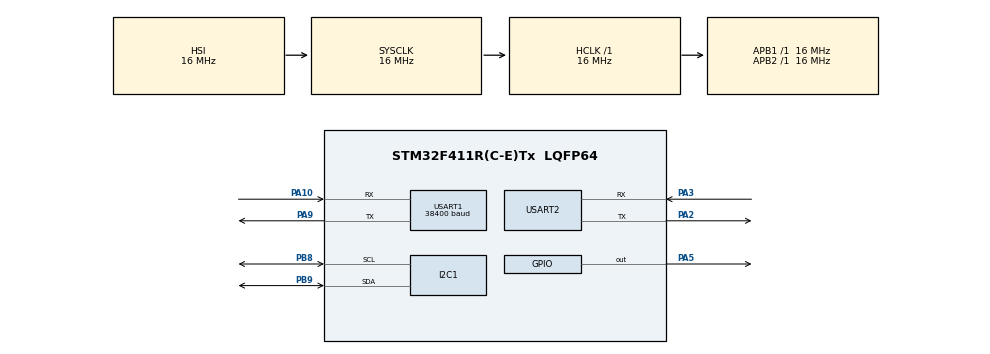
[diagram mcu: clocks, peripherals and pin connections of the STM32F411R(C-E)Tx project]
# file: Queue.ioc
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FREERTOS.Tasks01=defaultTask,0,128,StartDefaultTask,Default,NULL,Dynamic,NULL,NULL
FREERTOS.configUSE_NEWLIB_REENTRANT=1
Mcu.Family=STM32F4
Mcu.Name=STM32F411R(C-E)Tx
Mcu.Package=LQFP64
NVIC.PriorityGroup=NVIC_PRIORITYGROUP_4
NVIC.TIM1_UP_TIM10_IRQn=true\:15\:0\:false\:false\:true\:false\:false\:true\:true
NVIC.TimeBase=TIM1_UP_TIM10_IRQn
NVIC.TimeBaseIP=TIM1
NVIC.USART2_IRQn=true\:5\:0\:false\:false\:true\:true\:true\:true\:true
PA10.Mode=Asynchronous
PA10.Signal=USART1_RX
PA2.Mode=Asynchronous
PA2.Signal=USART2_TX
PA3.Mode=Asynchronous
PA3.Signal=USART2_RX
PA5.Signal=GPIO_Output
PA9.Mode=Asynchronous
PA9.Signal=USART1_TX
PB8.GPIO_Pu=GPIO_PULLUP
PB8.Mode=I2C
PB8.Signal=I2C1_SCL
PB9.GPIO_Pu=GPIO_PULLUP
PB9.Mode=I2C
PB9.Signal=I2C1_SDA
PC14-OSC32_IN.Mode=LSE-External-Oscillator
PC14-OSC32_IN.Signal=RCC_OSC32_IN
PC15-OSC32_OUT.Mode=LSE-External-Oscillator
PC15-OSC32_OUT.Signal=RCC_OSC32_OUT
ProjectManager.HeapSize=0x200
ProjectManager.StackSize=0x400
ProjectManager.TargetToolchain=STM32CubeIDE
RCC.AHBFreq_Value=16000000
RCC.APB1Freq_Value=16000000
RCC.APB2Freq_Value=16000000
RCC.CortexFreq_Value=16000000
RCC.HSE_VALUE=25000000
RCC.HSI_VALUE=16000000
RCC.SYSCLKFreq_VALUE=16000000
RCC.VCOOutputFreq_Value=192000000
USART1.BaudRate=38400
USART1.VirtualMode=VM_ASYNC
USART2.VirtualMode=VM_ASYNC
VP_FREERTOS_VS_CMSIS_V1.Mode=CMSIS_V1
VP_SYS_VS_tim1.Mode=TIM1
board=custom

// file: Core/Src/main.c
/* USER CODE BEGIN Header */
/**
  ******************************************************************************
  * @file           : main.c
  * @brief          : Main program body
  ******************************************************************************
  * @attention
  *
  * Copyright (c) 2023 STMicroelectronics.
  * All rights reserved.
  *
  * This software is licensed under terms that can be found in the LICENSE file
  * in the root directory of this software component.
  * If no LICENSE file comes with this software, it is provided AS-IS.
  *
  ******************************************************************************
  */
/* USER CODE END Header */
#include "main.h"
#include "stdio.h"
#include "string.h"

#include "FreeRTOS.h"
#include "task.h"
#include "timers.h"
#include "queue.h"
#include "semphr.h"
#include "event_groups.h"

I2C_HandleTypeDef hi2c1;

UART_HandleTypeDef huart1;
UART_HandleTypeDef huart2;

/* USER CODE BEGIN PV */
#define AHT25_ADDR 0x70 // Address of the AHT25 sensor

// AHT25 commands
#define AHT25_INIT_CMD 0xE1
#define AHT25_MEASURE_CMD 0xAC

/* USER CODE END PV */

void SystemClock_Config(void);
static void MX_GPIO_Init(void);
static void MX_I2C1_Init(void);
static void MX_USART1_UART_Init(void);
static void MX_USART2_UART_Init(void);

/* USER CODE END PFP */

/* USER CODE BEGIN 0 */
/************TaskHandle************/
xTaskHandle Sender_Handler;
xTaskHandle Receiver_Handler;

/***********QueueHandler************/
xQueueHandle SimpleQueue;
/***********TaskFunction***********/
void Sender_Task (void *argument);
void Receiver_Task (void *argument);
uint8_t Rx_data;

// Structure definition for sensor data
//typedef struct {
//    int temperature;
//    int humidity;
//} SensorData;

//float temperature, humidity;
//void read_sensor_values(float *temperature, float *humidity)
//{
//    uint8_t data[6];
//    uint8_t cmd = AHT25_MEASURE_CMD;
//
//    HAL_I2C_Master_Transmit(&hi2c1, AHT25_ADDR,&cmd, 1, HAL_MAX_DELAY);
//    HAL_Delay(100);
//    HAL_I2C_Master_Receive(&hi2c1,0x71, data, 6, HAL_MAX_DELAY);
//
//    *humidity = ((float)((data[1] << 12) | (data[2] << 4) | (data[3] >> 4))) / 1048576.0 * 100.0;
//    *temperature = ((float)(((data[3] & 0x0F) << 16) | (data[4] << 8) | data[5])) / 1048576.0 * 200.0 - 50.0;
//}

int temperature, humidity;
void read_sensor_values(int *temperature, int *humidity)
{
    uint8_t data[6];
    uint8_t cmd = AHT25_MEASURE_CMD;

    HAL_I2C_Master_Transmit(&hi2c1, AHT25_ADDR,&cmd, 1, HAL_MAX_DELAY);
    HAL_Delay(100);
    HAL_I2C_Master_Receive(&hi2c1,0x71, data, 6, HAL_MAX_DELAY);

    *humidity = ((int)((data[1] << 12) | (data[2] << 4) | (data[3] >> 4))) / 1048576.0 * 100.0;
    *temperature = ((int)(((data[3] & 0x0F) << 16) | (data[4] << 8) | data[5])) / 1048576.0 * 200.0 - 50.0;
}

/* USER CODE END 0 */

int main(void)
{

  /* MCU Configuration--------------------------------------------------------*/

  /* Reset of all peripherals, Initializes the Flash interface and the Systick. */
  HAL_Init();

  /* Configure the system clock */
  SystemClock_Config();

  /* Initialize all configured peripherals */
  MX_GPIO_Init();
  MX_I2C1_Init();
  MX_USART1_UART_Init();
  MX_USART2_UART_Init();
  WE10_Init("Swathi","123456789");
  MQTT_Init();
  /* USER CODE BEGIN 2 */
  /************************* Create Integer Queue ****************************/
   SimpleQueue = xQueueCreate(5, sizeof (int));
   if (SimpleQueue == 0)  // Queue not created
   {
 	  char *str = "Unable to create Integer Queue\n\r";
 	  HAL_UART_Transmit(&huart2, (uint8_t *)str, strlen (str), HAL_MAX_DELAY);
   }
   else
   {
 	  char *str = "Integer Queue Created successfully\n\r";
 	  HAL_UART_Transmit(&huart2, (uint8_t *)str, strlen (str), HAL_MAX_DELAY);
   }
   /*********************TaskRelated****************/
   xTaskCreate(Sender_Task, "Sender", 128, NULL, 3, &Sender_Handler);
   xTaskCreate(Receiver_Task, "Receiver", 128, NULL, 1, &Receiver_Handler);
  /* USER CODE END 2 */
   HAL_UART_Receive_IT(&huart2, &Rx_data, 1);

   vTaskStartScheduler();

  while (1)
  {

  }
}

void SystemClock_Config(void)
{
  RCC_OscInitTypeDef RCC_OscInitStruct = {0};
  RCC_ClkInitTypeDef RCC_ClkInitStruct = {0};

  /** Configure the main internal regulator output voltage
  */
  __HAL_RCC_PWR_CLK_ENABLE();
  __HAL_PWR_VOLTAGESCALING_CONFIG(PWR_REGULATOR_VOLTAGE_SCALE1);

  /** Initializes the RCC Oscillators according to the specified parameters
  * in the RCC_OscInitTypeDef structure.
  */
  RCC_OscInitStruct.OscillatorType = RCC_OSCILLATORTYPE_HSI;
  RCC_OscInitStruct.HSIState = RCC_HSI_ON;
  RCC_OscInitStruct.HSICalibrationValue = RCC_HSICALIBRATION_DEFAULT;
  RCC_OscInitStruct.PLL.PLLState = RCC_PLL_NONE;
  if (HAL_RCC_OscConfig(&RCC_OscInitStruct) != HAL_OK)
  {
    Error_Handler();
  }

  /** Initializes the CPU, AHB and APB buses clocks
  */
  RCC_ClkInitStruct.ClockType = RCC_CLOCKTYPE_HCLK|RCC_CLOCKTYPE_SYSCLK
                              |RCC_CLOCKTYPE_PCLK1|RCC_CLOCKTYPE_PCLK2;
  RCC_ClkInitStruct.SYSCLKSource = RCC_SYSCLKSOURCE_HSI;
  RCC_ClkInitStruct.AHBCLKDivider = RCC_SYSCLK_DIV1;
  RCC_ClkInitStruct.APB1CLKDivider = RCC_HCLK_DIV1;
  RCC_ClkInitStruct.APB2CLKDivider = RCC_HCLK_DIV1;

  if (HAL_RCC_ClockConfig(&RCC_ClkInitStruct, FLASH_LATENCY_0) != HAL_OK)
  {
    Error_Handler();
  }
}

static void MX_I2C1_Init(void)
{

  hi2c1.Instance = I2C1;
  hi2c1.Init.ClockSpeed = 100000;
  hi2c1.Init.DutyCycle = I2C_DUTYCYCLE_2;
  hi2c1.Init.OwnAddress1 = 0;
  hi2c1.Init.AddressingMode = I2C_ADDRESSINGMODE_7BIT;
  hi2c1.Init.DualAddressMode = I2C_DUALADDRESS_DISABLE;
  hi2c1.Init.OwnAddress2 = 0;
  hi2c1.Init.GeneralCallMode = I2C_GENERALCALL_DISABLE;
  hi2c1.Init.NoStretchMode = I2C_NOSTRETCH_DISABLE;
  if (HAL_I2C_Init(&hi2c1) != HAL_OK)
  {
    Error_Handler();
  }

}

static void MX_USART1_UART_Init(void)
{

  huart1.Instance = USART1;
  huart1.Init.BaudRate = 38400;
  huart1.Init.WordLength = UART_WORDLENGTH_8B;
  huart1.Init.StopBits = UART_STOPBITS_1;
  huart1.Init.Parity = UART_PARITY_NONE;
  huart1.Init.Mode = UART_MODE_TX_RX;
  huart1.Init.HwFlowCtl = UART_HWCONTROL_NONE;
  huart1.Init.OverSampling = UART_OVERSAMPLING_16;
  if (HAL_UART_Init(&huart1) != HAL_OK)
  {
    Error_Handler();
  }

}

static void MX_USART2_UART_Init(void)
{

  huart2.Instance = USART2;
  huart2.Init.BaudRate = 115200;
  huart2.Init.WordLength = UART_WORDLENGTH_8B;
  huart2.Init.StopBits = UART_STOPBITS_1;
  huart2.Init.Parity = UART_PARITY_NONE;
  huart2.Init.Mode = UART_MODE_TX_RX;
  huart2.Init.HwFlowCtl = UART_HWCONTROL_NONE;
  huart2.Init.OverSampling = UART_OVERSAMPLING_16;
  if (HAL_UART_Init(&huart2) != HAL_OK)
  {
    Error_Handler();
  }

}

static void MX_GPIO_Init(void)
{
  GPIO_InitTypeDef GPIO_InitStruct = {0};

  /* GPIO Ports Clock Enable */
  __HAL_RCC_GPIOC_CLK_ENABLE();
  __HAL_RCC_GPIOA_CLK_ENABLE();
  __HAL_RCC_GPIOB_CLK_ENABLE();

  /*Configure GPIO pin Output Level */
  HAL_GPIO_WritePin(GPIOA, GPIO_PIN_5, GPIO_PIN_RESET);

  /*Configure GPIO pin : PA5 */
  GPIO_InitStruct.Pin = GPIO_PIN_5;
  GPIO_InitStruct.Mode = GPIO_MODE_OUTPUT_PP;
  GPIO_InitStruct.Pull = GPIO_NOPULL;
  GPIO_InitStruct.Speed = GPIO_SPEED_FREQ_LOW;
  HAL_GPIO_Init(GPIOA, &GPIO_InitStruct);

}

/* USER CODE BEGIN 4 */
//void Sender_Task (void *argument)
//{
//	uint32_t TickDelay = pdMS_TO_TICKS(2000);
//	while (1)
//	{
//		 read_sensor_values(&temperature, &humidity);
//		char *str = "Entered SENDER_HPT Task\n\r about to SEND a number to the queue\n\r";
//		HAL_UART_Transmit(&huart2, (uint8_t *)str, strlen (str), HAL_MAX_DELAY);
//
//		if (xQueueSend(SimpleQueue, &temperature, portMAX_DELAY) == pdPASS)
//		{
//			char *str2 = " Successfully sent the number to the queue\n\r Leaving SENDER_HPT Task\n\r";
//			HAL_UART_Transmit(&huart2, (uint8_t *)str2, strlen (str2), HAL_MAX_DELAY);
//		}
//
//		vTaskDelay(TickDelay);
//	}
//}
//
//void Receiver_Task (void *argument)
//{
//	float received=0;
//	uint32_t TickDelay = pdMS_TO_TICKS(3000);
//	while (1)
//	{
//		char str[100];
//		strcpy (str, "Entered RECEIVER Task\n\r about to RECEIVE a number from the queue\n\r");
//		HAL_UART_Transmit(&huart2, (uint8_t *)str, strlen (str), HAL_MAX_DELAY);
//
//		if (xQueueReceive(SimpleQueue, &received, portMAX_DELAY) != pdTRUE)
//		{
//			HAL_UART_Transmit(&huart2, (uint8_t *)"Error in Receiving from Queue\n\n", 31, 1000);
//		}
//		else
//		{
//			sprintf(str, " Successfully RECEIVED the number %d to the queue\n\r Leaving RECEIVER Task\n\r",received);
//			HAL_UART_Transmit(&huart2, (uint8_t *)str, strlen (str), HAL_MAX_DELAY);
//		}
//
//		vTaskDelay(TickDelay);
//	}
//}

/*************************Testing_Code********************/
//void Sender_Task(void *argument)
//{
//    uint32_t TickDelay = pdMS_TO_TICKS(2000);
//    float temperature = 0.0;
//
//    while (1)
//    {
//        read_sensor_values(&temperature, &humidity);
//
//        char *str = "Entered SENDER Task\n\rAbout to send a number to the queue\n\r";
//        HAL_UART_Transmit(&huart2, (uint8_t *)str, strlen(str), HAL_MAX_DELAY);
//
//        if (xQueueSend(SimpleQueue, &temperature, portMAX_DELAY) == pdPASS)
//        {
//            char *str2 = "Successfully sent the number to the queue\n\rLeaving SENDER Task\n\r";
//            HAL_UART_Transmit(&huart2, (uint8_t *)str2, strlen(str2), HAL_MAX_DELAY);
//        }
//
//        vTaskDelay(TickDelay);
//    }
//}
//
//void Receiver_Task(void *argument)
//{
//    float received = 0.0;
//    uint32_t TickDelay = pdMS_TO_TICKS(3000);
//
//    while (1)
//    {
//        char str[100];
//        strcpy(str, "Entered RECEIVER Task\n\rAbout to receive a number from the queue\n\r");
//        HAL_UART_Transmit(&huart2, (uint8_t *)str, strlen(str), HAL_MAX_DELAY);
//
//        if (xQueueReceive(SimpleQueue, &received, portMAX_DELAY) != pdPASS)
//        {
//            HAL_UART_Transmit(&huart2, (uint8_t *)"Error in receiving from the queue\n\r", 34, HAL_MAX_DELAY);
//        }
//        else
//        {
//            sprintf(str, "Successfully received the number %.2f from the queue\n\rLeaving RECEIVER Task\n\r", received);
//            HAL_UART_Transmit(&huart2, (uint8_t *)str, strlen(str), HAL_MAX_DELAY);
//        }
//
//        vTaskDelay(TickDelay);
//    }
//}

//void Sender_Task (void *argument)
//{
//	uint32_t TickDelay = pdMS_TO_TICKS(2000);
//	while (1)
//	{
//		float temperature, humidity;
//		read_sensor_values(&temperature, &humidity);
//		char *str = "Entered SENDER_HPT Task\n\r about to SEND a number to the queue\n\r";
//		HAL_UART_Transmit(&huart2, (uint8_t *)str, strlen (str), HAL_MAX_DELAY);
//
//		if (xQueueSend(SimpleQueue, &temperature, portMAX_DELAY) == pdPASS)
//		{
//			char *str2 = " Successfully sent the number to the queue\n\r Leaving SENDER_HPT Task\n\r";
//			HAL_UART_Transmit(&huart2, (uint8_t *)str2, strlen (str2), HAL_MAX_DELAY);
//		}
//
//		vTaskDelay(TickDelay);
//	}
//}
//
//void Receiver_Task (void *argument)
//{
//	float received;
//	uint32_t TickDelay = pdMS_TO_TICKS(3000);
//	while (1)
//	{
//		char str[100];
//		strcpy (str, "Entered RECEIVER Task\n\r about to RECEIVE a number from the queue\n\r");
//		HAL_UART_Transmit(&huart2, (uint8_t *)str, strlen (str), HAL_MAX_DELAY);
//
//		if (xQueueReceive(SimpleQueue, &received, portMAX_DELAY) != pdTRUE)
//		{
//			HAL_UART_Transmit(&huart2, (uint8_t *)"Error in Receiving from Queue\n\n", 31, 1000);
//		}
//		else
//		{
//			sprintf(str, " Successfully RECEIVED the number %f to the queue\n\r Leaving RECEIVER Task\n\r",received);
//			HAL_UART_Transmit(&huart2, (uint8_t *)str, strlen (str), HAL_MAX_DELAY);
//		}
//
//		vTaskDelay(TickDelay);
//	}
//}
/***********************************WORKING CODE_START***************************/
//void Sender_Task (void *argument)
//{
//	uint32_t TickDelay = pdMS_TO_TICKS(2000);
//	//float temperature, humidity;
//	//int i=0;
//	while (1)
//	{
//		//i =i+1;
//		read_sensor_values(&temperature, &humidity);
//		char *str = "Entered SENDE_Task\n\r";
//		HAL_UART_Transmit(&huart2, (uint8_t *)str, strlen (str), HAL_MAX_DELAY);
//
//		if (xQueueSend(SimpleQueue, &temperature, portMAX_DELAY) == pdPASS)
//		{
//			char *str2 = " Successfully sent the TEMPERATURE\n\r";
//			HAL_UART_Transmit(&huart2, (uint8_t *)str2, strlen (str2), HAL_MAX_DELAY);
//		}
//
//
//		vTaskDelay(TickDelay);
//	}
//}
//
//void Receiver_Task (void *argument)
//{
//	int received;
//	uint32_t TickDelay = pdMS_TO_TICKS(3000);
//	while (1)
//	{
//		char str[100];
////		strcpy (str, "Entered RECEIVER Task\n\r about to RECEIVE a number from the queue\n\r");
////		HAL_UART_Transmit(&huart2, (uint8_t *)str, strlen (str), HAL_MAX_DELAY);
//
//		if (xQueueReceive(SimpleQueue, &received, portMAX_DELAY) != pdTRUE)
//		{
//			HAL_UART_Transmit(&huart2, (uint8_t *)"Error in Receiving from Queue\n\n", 31, 1000);
//		}
//		else
//		{
//			sprintf(str, " Successfully RECEIVED the TEMPERATURE------> %d\n\r",received);
//			HAL_UART_Transmit(&huart2, (uint8_t *)str, strlen (str), HAL_MAX_DELAY);
//		}
//
//
//		vTaskDelay(TickDelay);
//	}
//}
/***********************************WORKING CODE_END***************************/
//void Sender_Task (void *argument)
//{
//	uint32_t TickDelay = pdMS_TO_TICKS(2000);
//	//float temperature, humidity;
//	//int i=0;
//	while (1)
//	{
//		//i =i+1;
//		read_sensor_values(&temperature, &humidity);
//		char *str = "Entered SENDE_Task\n\r";
//		HAL_UART_Transmit(&huart2, (uint8_t *)str, strlen (str), HAL_MAX_DELAY);
//
//		if (xQueueSend(SimpleQueue, &temperature, portMAX_DELAY) == pdPASS)
//		{
//			char *str2 = " Successfully sent the TEMPERATURE\n\r";
//			HAL_UART_Transmit(&huart2, (uint8_t *)str2, strlen (str2), HAL_MAX_DELAY);
//		}
//
//
//		vTaskDelay(TickDelay);
//	}
//}
//
//void Receiver_Task (void *argument)
//{
//	int received;
//	char buffer[50];
//	uint32_t TickDelay = pdMS_TO_TICKS(3000);
//	while (1)
//	{
//		char str[100];
//
//		if (xQueueReceive(SimpleQueue, &received, portMAX_DELAY) != pdTRUE)
//		{
//			HAL_UART_Transmit(&huart2, (uint8_t *)"Error in Receiving from Queue\n\n", 31, 1000);
//		}
//		else
//		{
//			sprintf(str, " Successfully RECEIVED the TEMPERATURE------> %d\n\r",received);
//			HAL_UART_Transmit(&huart2, (uint8_t *)str, strlen (str), HAL_MAX_DELAY);
//		    sprintf (&buffer[0], "CMD+MQTTPUB=base/state/temperature,%d\r\n",received);
//		    HAL_UART_Transmit(&huart1, (uint8_t*)buffer, strlen(buffer), 1000);
//		}
//
//
//		vTaskDelay(TickDelay);
//	}
//}

//void Sender_Task (void *argument)
//{
//	uint32_t TickDelay = pdMS_TO_TICKS(2000);
//	//float temperature, humidity;
//	while (1)
//	{
//		//i =i+1;
//		read_sensor_values(&temperature, &humidity);
//		char *str = "Entered SENDE_Task\n\r";
//		HAL_UART_Transmit(&huart2, (uint8_t *)str, strlen (str), HAL_MAX_DELAY);
//
//		if (xQueueSend(SimpleQueue, &temperature, portMAX_DELAY) == pdPASS)
//		{
//			char *str2 = " Successfully sent the TEMPERATURE\n\r";
//			HAL_UART_Transmit(&huart2, (uint8_t *)str2, strlen (str2), HAL_MAX_DELAY);
//		}
//
//
//		vTaskDelay(TickDelay);
//	}
//}
//
//void Receiver_Task (void *argument)
//{
//	float received;
//	char buffer[50];
//	uint32_t TickDelay = pdMS_TO_TICKS(3000);
//	while (1)
//	{
//		char str[100];
//
//		if (xQueueReceive(SimpleQueue, &received, portMAX_DELAY) != pdTRUE)
//		{
//			HAL_UART_Transmit(&huart2, (uint8_t *)"Error in Receiving from Queue\n\n", 31, 1000);
//		}
//		else
//		{
//			sprintf(str, " Successfully RECEIVED the TEMPERATURE------> %f\n\r",received);
//			HAL_UART_Transmit(&huart2, (uint8_t *)str, strlen (str), HAL_MAX_DELAY);
//		    sprintf (&buffer[0], "CMD+MQTTPUB=base/state/temperature,%f\r\n",received);
//		    HAL_UART_Transmit(&huart1, (uint8_t*)buffer, strlen(buffer), 1000);
//		}
//
//
//		vTaskDelay(TickDelay);
//	}
//}

//void Sender_Task(void *argument)
//{
//    uint32_t TickDelay = pdMS_TO_TICKS(2000);
//    while (1)
//    {
//        read_sensor_values(&temperature, &humidity);
//        char *str = "Entered SEND_Task\n\r";
//        HAL_UART_Transmit(&huart2, (uint8_t *)str, strlen(str), HAL_MAX_DELAY);
//
//        // Create an instance of the SensorData structure
//        SensorData data;
//        data.temperature = temperature;
//        data.humidity = humidity;
//
//        if (xQueueSend(SimpleQueue, &data, portMAX_DELAY) == pdPASS)
//        {
//            char *str2 = "Successfully sent the SENSOR DATA\n\r";
//            HAL_UART_Transmit(&huart2, (uint8_t *)str2, strlen(str2), HAL_MAX_DELAY);
//        }
//
//        vTaskDelay(TickDelay);
//    }
//}
//
//void Receiver_Task(void *argument)
//{
//    SensorData receivedData;
//    char buffer[100];
//    uint32_t TickDelay = pdMS_TO_TICKS(3000);
//
//    while (1)
//    {
//        if (xQueueReceive(SimpleQueue, &receivedData, portMAX_DELAY) != pdTRUE)
//        {
//            HAL_UART_Transmit(&huart2, (uint8_t *)"Error in Receiving from Queue\n\r", 31, 1000);
//        }
//        else
//        {
//            char str[100];
//
//            sprintf(str, "Successfully RECEIVED SENSOR DATA ------>\n\rTemperature: %d\n\rHumidity: %d\n\r",
//                    receivedData.temperature, receivedData.humidity);
//            HAL_UART_Transmit(&huart2, (uint8_t *)str, strlen(str), HAL_MAX_DELAY);
//
//            sprintf(buffer, "CMD+MQTTPUB=base/state/temperature,%d\r\n", receivedData.temperature);
//            HAL_UART_Transmit(&huart1, (uint8_t *)buffer, strlen(buffer), 1000);
//
//            sprintf(buffer, "CMD+MQTTPUB=base/state/humidity,%d\r\n", receivedData.humidity);
//            HAL_UART_Transmit(&huart1, (uint8_t *)buffer, strlen(buffer), 1000);
//        }
//
//        vTaskDelay(TickDelay);
//    }
//}

//void Sender_Task (void *argument)
//{
//	uint32_t TickDelay = pdMS_TO_TICKS(2000);
//	float temperature, humidity;
//	//int i=0;
//	while (1)
//	{
//		//i =i+1;
//		read_sensor_values(&temperature, &humidity);
//		char *str = "Entered SENDE_Task\n\r";
//		HAL_UART_Transmit(&huart2, (uint8_t *)str, strlen (str), HAL_MAX_DELAY);
//
//		if (xQueueSend(SimpleQueue, &temperature, portMAX_DELAY) == pdPASS)
//		{
//			char *str2 = " Successfully sent the TEMPERATURE\n\r";
//			HAL_UART_Transmit(&huart2, (uint8_t *)str2, strlen (str2), HAL_MAX_DELAY);
//		}
//
//		if (xQueueSend(SimpleQueue, &humidity, portMAX_DELAY) == pdPASS)
//		{
//			char *str3 = " Successfully sent the HUMIDITY\n\r";
//			HAL_UART_Transmit(&huart2, (uint8_t *)str3, strlen (str3), HAL_MAX_DELAY);
//		}
//
//		vTaskDelay(TickDelay);
//	}
//}

void Sender_Task (void *argument)
{
	uint32_t TickDelay = pdMS_TO_TICKS(2000);
	float temperature, humidity;
	int i = 0;
	while (1)
	{
		read_sensor_values(&temperature, &humidity);
		char *str = "Entered SENDE_Task\n\r";
		HAL_UART_Transmit(&huart2, (uint8_t *)str, strlen (str), HAL_MAX_DELAY);

		if (xQueueSend(SimpleQueue, &temperature, portMAX_DELAY) == pdPASS)
		{
			char *str2 = " Successfully sent the TEMPERATURE\n\r";

			HAL_UART_Transmit(&huart2, (uint8_t *)str2, strlen (str2), HAL_MAX_DELAY);
		}

		if (xQueueSend(SimpleQueue, &humidity, portMAX_DELAY) == pdPASS)
		{
			char *str3 = " Successfully sent the HUMIDITY\n\r";
			HAL_UART_Transmit(&huart2, (uint8_t *)str3, strlen (str3), HAL_MAX_DELAY);
		}

		vTaskDelay(TickDelay);

		// Print the temperature and humidity values every 20 minutes
		i++;
		if (i % 20 == 0)
		{
			sprintf(str, " TEMPERATURE: %d\t HUMIDITY: %d\n\r", temperature, humidity);
			HAL_UART_Transmit(&huart2, (uint8_t *)str, strlen (str), HAL_MAX_DELAY);
		}
	}
}

void Receiver_Task (void *argument)
{
	int received;
	char buffer[50];
	uint32_t TickDelay = pdMS_TO_TICKS(3000);
	while (1)
	{
		char str[100];

		if (xQueueReceive(SimpleQueue, &received, portMAX_DELAY) != pdTRUE)
		{
			HAL_UART_Transmit(&huart2, (uint8_t *)"Error in Receiving from Queue\n\n", 31, 1000);
		}
		else
		{
			sprintf(str, " Successfully RECEIVED the TEMPERATURE------> %d\n\r",received);
			HAL_UART_Transmit(&huart2, (uint8_t *)str, strlen (str), HAL_MAX_DELAY);
		    sprintf (&buffer[0], "CMD+MQTTPUB=base/state/temperature,%d\r\n",received);
		    HAL_UART_Transmit(&huart1, (uint8_t*)buffer, strlen(buffer), 1000);
		}

		if (xQueueReceive(SimpleQueue, &humidity, portMAX_DELAY) != pdTRUE)
		{
			HAL_UART_Transmit(&huart2, (uint8_t *)"Error in Receiving from Queue\n\n", 31, 1000);
		}
		else
		{
			sprintf(str, " Successfully RECEIVED the HUMIDITY------> %d\n\r",humidity);
			HAL_UART_Transmit(&huart2, (uint8_t *)str, strlen (str), HAL_MAX_DELAY);
		    sprintf (&buffer[0], "CMD+MQTTPUB=base/state/humidity,%d\r\n",humidity);
		    HAL_UART_Transmit(&huart1, (uint8_t*)buffer, strlen(buffer), 1000);
		}

		vTaskDelay(TickDelay);
	}
}

/*********************WE_10***********************************/
void WE10_Init (char *SSID, char *PASSWD)
{
	char buffer[128];
	/********* CMD+RESET **********/
	//memset(&buffer[0],0x00,strlen(buffer));
	sprintf (&buffer[0], "CMD+RESET\r\n");
	HAL_UART_Transmit(&huart1, (uint8_t*)buffer, strlen(buffer), 1000);
	HAL_UART_Transmit(&huart2, (uint8_t*)buffer, strlen(buffer), 1000);

	HAL_UART_Receive(&huart1, (uint8_t*)buffer, strlen(buffer), 1000);
	HAL_UART_Transmit(&huart2, (uint8_t*)buffer, strlen(buffer), 1000);

	/*********  CMD+WIFIMODE=1  **********/
	//memset(&buffer[0],0x00,strlen(buffer));
	sprintf (&buffer[0], "CMD+WIFIMODE=1\r\n");
	HAL_UART_Transmit(&huart1, (uint8_t*)buffer, strlen(buffer), 1000);
	HAL_UART_Transmit(&huart2, (uint8_t*)buffer, strlen(buffer), 1000);

	HAL_UART_Receive(&huart1, (uint8_t*)buffer, strlen(buffer), 1000);
	HAL_UART_Transmit(&huart2, (uint8_t*)buffer, strlen(buffer), 1000);
	HAL_Delay(2000);

	/********* CMD+CONTOAP=SSID,PASSWD **********/
	//memset(&buffer[0],0x00,strlen(buffer));
	sprintf (&buffer[0], "CMD+CONTOAP=Swathi,123456789\r\n", SSID, PASSWD);
	HAL_UART_Transmit(&huart1, (uint8_t*)buffer, strlen(buffer), 10000);
	HAL_UART_Transmit(&huart2, (uint8_t*)buffer, strlen(buffer), 10000);
	//memset(&buffer[0],0x00,strlen(buffer));
	HAL_Delay(2000);
	HAL_UART_Receive(&huart1, (uint8_t*)buffer, strlen(buffer), 10000);
	HAL_Delay(500);
	HAL_UART_Transmit(&huart2, (uint8_t*)buffer, strlen(buffer), 10000);

	/********* CMD?WIFI**********/
	//memset(&buffer[0],0x00,strlen(buffer));
	sprintf (&buffer[0], "CMD?WIFI\r\n");
	HAL_UART_Transmit(&huart1, (uint8_t*)buffer, strlen(buffer), 10000);
	HAL_UART_Transmit(&huart2, (uint8_t*)buffer, strlen(buffer), 10000);
//	memset(&buffer[0],0x00,strlen(buffer));
//	HAL_Delay(500);
	HAL_UART_Receive(&huart1, (uint8_t*)buffer, strlen(buffer), 10000);
	HAL_Delay(500);
	HAL_UART_Transmit(&huart2, (uint8_t*)buffer, strlen(buffer), 10000);

}
/**********************************MQTT*******************************/

void MQTT_Init()
{

	char buffer[128];

	/*********CMD+MQTTNETCFG **********/
	//memset(&buffer[0],0x00,strlen(buffer));
	sprintf (&buffer[0], "CMD+MQTTNETCFG=dev.rightech.io,1883\r\n");
	HAL_UART_Transmit(&huart1, (uint8_t*)buffer, strlen(buffer), 10000);
	HAL_UART_Transmit(&huart2, (uint8_t*)buffer, strlen(buffer), 10000);
	//memset(&buffer[0],0x00,strlen(buffer));
	//HAL_Delay(500);
	HAL_UART_Receive(&huart1, (uint8_t*)buffer, strlen(buffer), 10000);
	HAL_Delay(500);
	HAL_UART_Transmit(&huart2, (uint8_t*)buffer, strlen(buffer), 10000);

	/*********CMD+MQTTCONCFG **********/
	//memset(&buffer[0],0x00,strlen(buffer));
	sprintf (&buffer[0], "CMD+MQTTCONCFG=3,mqtt-velikapatidinesh2000-tn5fw3,,,,,,,,,\r\n");
	HAL_UART_Transmit(&huart1, (uint8_t*)buffer, strlen(buffer), 1000);
	HAL_UART_Transmit(&huart2, (uint8_t*)buffer, strlen(buffer), 1000);
	//memset(&buffer[0],0x00,strlen(buffer));
	//HAL_Delay(500);
	HAL_UART_Receive(&huart1, (uint8_t*)buffer, strlen(buffer), 1000);
	HAL_Delay(500);
	HAL_UART_Transmit(&huart2, (uint8_t*)buffer, strlen(buffer), 1000);

	/*********CMD+MQTTSTART **********/
	//memset(&buffer[0],0x00,strlen(buffer));
	sprintf (&buffer[0], "CMD+MQTTSTART=1\r\n");
	HAL_UART_Transmit(&huart1, (uint8_t*)buffer, strlen(buffer), 1000);
	HAL_UART_Transmit(&huart2, (uint8_t*)buffer, strlen(buffer), 1000);
//	memset(&buffer[0],0x00,strlen(buffer));
	HAL_Delay(5000);
	HAL_UART_Receive(&huart1, (uint8_t*)buffer, strlen(buffer), 1000);
	HAL_Delay(500);
	HAL_UART_Transmit(&huart2, (uint8_t*)buffer, strlen(buffer), 1000);

	/*********CMD+MQTTSUB *********/
	//memset(&buffer[0],0x00,strlen(buffer));
	sprintf (&buffer[0], "CMD+MQTTSUB=base/relay/led1\r\n");
	HAL_UART_Transmit(&huart1, (uint8_t*)buffer, strlen(buffer), 1000);
	HAL_UART_Transmit(&huart2, (uint8_t*)buffer, strlen(buffer), 1000);
	HAL_Delay(500);
	HAL_UART_Receive(&huart1, (uint8_t*)buffer, strlen(buffer), 1000);
	HAL_UART_Transmit(&huart2, (uint8_t*)buffer, strlen(buffer), 1000);

}

	void mqtt_data_send()
	{
	    char buffer[50];
	    sprintf (&buffer[0], "CMD+MQTTPUB=base/state/temperature,%.2f\r\n",temperature);
	    HAL_UART_Transmit(&huart1, (uint8_t*)buffer, strlen(buffer), 1000);
	    printf("%s", buffer);

	}

void HAL_UART_RxCpltCallback(UART_HandleTypeDef *huart)
{
	HAL_UART_Receive_IT(huart, &Rx_data, 1);
	int ToSend = 123456789;
	if (Rx_data == 'r')
	{
		 /* The xHigherPriorityTaskWoken parameter must be initialized to pdFALSE as
		 it will get set to pdTRUE inside the interrupt safe API function if a
		 context switch is required. */
		BaseType_t xHigherPriorityTaskWoken = pdFALSE;

		if (xQueueSendToFrontFromISR(SimpleQueue, &ToSend, &xHigherPriorityTaskWoken) == pdPASS)
		{
			HAL_UART_Transmit(huart, (uint8_t *)"\n\nSent from ISR\n\n\r", 17, 500);
		}

		/* Pass the xHigherPriorityTaskWoken value into portEND_SWITCHING_ISR(). If
		 xHigherPriorityTaskWoken was set to pdTRUE inside xSemaphoreGiveFromISR()
		 then calling portEND_SWITCHING_ISR() will request a context switch. If
		 xHigherPriorityTaskWoken is still pdFALSE then calling
		 portEND_SWITCHING_ISR() will have no effect */

		portEND_SWITCHING_ISR(xHigherPriorityTaskWoken);
	}
}
/* USER CODE END 4 */

void HAL_TIM_PeriodElapsedCallback(TIM_HandleTypeDef *htim)
{
  if (htim->Instance == TIM1) {
    HAL_IncTick();
  }
}

void Error_Handler(void)
{
  __disable_irq();
  while (1)
  {
  }
}
